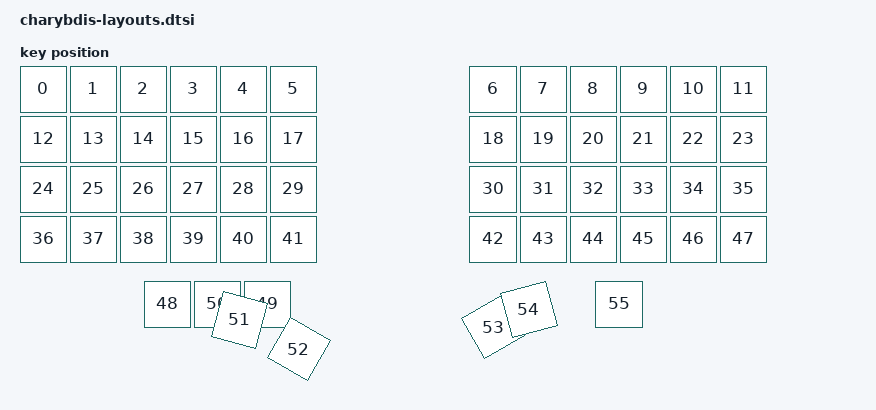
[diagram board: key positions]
#include <physical_layouts.dtsi>

/ {
    charybdis_physical_layout: charybdis_physical_layout {
        compatible = "zmk,physical-layout";
        display-name = "Charybdis 4x6";
        status = "okay";
        kscan = <&kscan0>;
        transform = <&default_transform>;

        keys
            // Ordered 4x6 main keys: Left rows 0-3, Right rows 0-3
            //                       w   h    x    y     rot    rx    ry
            // Row 0 - Left (6)
            = <&key_physical_attrs 100 100    0    0       0     0     0>
            , <&key_physical_attrs 100 100  100    0       0     0     0>
            , <&key_physical_attrs 100 100  200    0       0     0     0>
            , <&key_physical_attrs 100 100  300    0       0     0     0>
            , <&key_physical_attrs 100 100  400    0       0     0     0>
            , <&key_physical_attrs 100 100  500    0       0     0     0>
            // Row 0 - Right (6)
            , <&key_physical_attrs 100 100  900    0       0     0     0>
            , <&key_physical_attrs 100 100 1000    0       0     0     0>
            , <&key_physical_attrs 100 100 1100    0       0     0     0>
            , <&key_physical_attrs 100 100 1200    0       0     0     0>
            , <&key_physical_attrs 100 100 1300    0       0     0     0>
            , <&key_physical_attrs 100 100 1400    0       0     0     0>

            // Row 1 - Left (6)
            , <&key_physical_attrs 100 100    0  100       0     0     0>
            , <&key_physical_attrs 100 100  100  100       0     0     0>
            , <&key_physical_attrs 100 100  200  100       0     0     0>
            , <&key_physical_attrs 100 100  300  100       0     0     0>
            , <&key_physical_attrs 100 100  400  100       0     0     0>
            , <&key_physical_attrs 100 100  500  100       0     0     0>
            // Row 1 - Right (6)
            , <&key_physical_attrs 100 100  900  100       0     0     0>
            , <&key_physical_attrs 100 100 1000  100       0     0     0>
            , <&key_physical_attrs 100 100 1100  100       0     0     0>
            , <&key_physical_attrs 100 100 1200  100       0     0     0>
            , <&key_physical_attrs 100 100 1300  100       0     0     0>
            , <&key_physical_attrs 100 100 1400  100       0     0     0>

            // Row 2 - Left (6)
            , <&key_physical_attrs 100 100    0  200       0     0     0>
            , <&key_physical_attrs 100 100  100  200       0     0     0>
            , <&key_physical_attrs 100 100  200  200       0     0     0>
            , <&key_physical_attrs 100 100  300  200       0     0     0>
            , <&key_physical_attrs 100 100  400  200       0     0     0>
            , <&key_physical_attrs 100 100  500  200       0     0     0>
            // Row 2 - Right (6)
            , <&key_physical_attrs 100 100  900  200       0     0     0>
            , <&key_physical_attrs 100 100 1000  200       0     0     0>
            , <&key_physical_attrs 100 100 1100  200       0     0     0>
            , <&key_physical_attrs 100 100 1200  200       0     0     0>
            , <&key_physical_attrs 100 100 1300  200       0     0     0>
            , <&key_physical_attrs 100 100 1400  200       0     0     0>

            // Row 3 - Left (6)
            , <&key_physical_attrs 100 100    0  300       0     0     0>
            , <&key_physical_attrs 100 100  100  300       0     0     0>
            , <&key_physical_attrs 100 100  200  300       0     0     0>
            , <&key_physical_attrs 100 100  300  300       0     0     0>
            , <&key_physical_attrs 100 100  400  300       0     0     0>
            , <&key_physical_attrs 100 100  500  300       0     0     0>
            // Row 3 - Right (6)
            , <&key_physical_attrs 100 100  900  300       0     0     0>
            , <&key_physical_attrs 100 100 1000  300       0     0     0>
            , <&key_physical_attrs 100 100 1100  300       0     0     0>
            , <&key_physical_attrs 100 100 1200  300       0     0     0>
            , <&key_physical_attrs 100 100 1300  300       0     0     0>
            , <&key_physical_attrs 100 100 1400  300       0     0     0>

            // Row 4 (Thumbs) - Left (5) then Right (3)
            // Move thumbs below bottom row to avoid overlap
            , <&key_physical_attrs 100 100  248  430       0     0     0>
            , <&key_physical_attrs 100 100  448  430       0     0     0>
            , <&key_physical_attrs 100 100  348  430       0     0     0>
            , <&key_physical_attrs 100 100  320  460    1500   398   790>
            , <&key_physical_attrs 100 100  380  468    3000   398   790>
            , <&key_physical_attrs 100 100 1052  436 (-3000)  1102   790>
            , <&key_physical_attrs 100 100 1052  430 (-1500)  1102   790>
            , <&key_physical_attrs 100 100 1152  430       0     0     0>
            ;
    };
};
